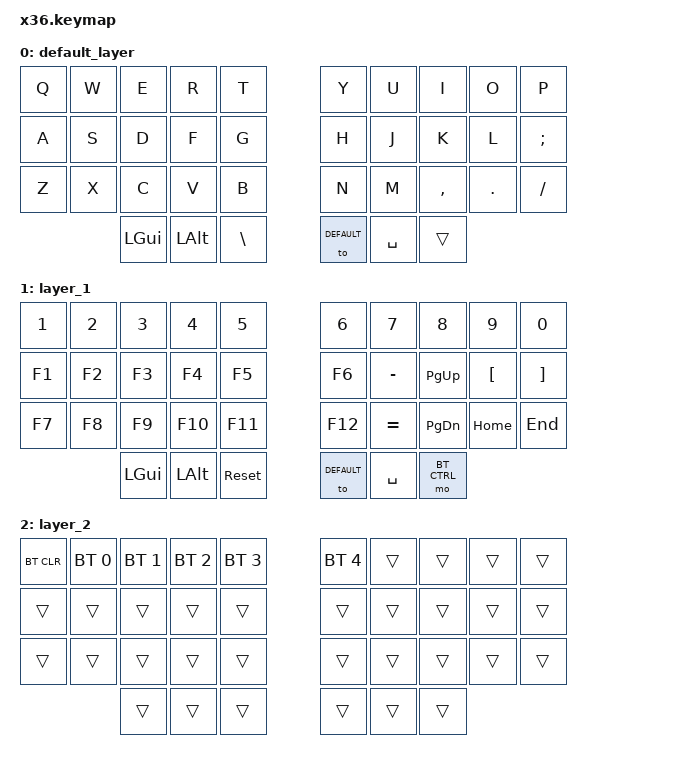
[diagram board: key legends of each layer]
/*
 * Copyright (c) 2021 The ZMK Contributors
 *
 * SPDX-License-Identifier: MIT
 */

#include <behaviors.dtsi>
#include <dt-bindings/zmk/bt.h>
#include <dt-bindings/zmk/keys.h>
#include <dt-bindings/zmk/outputs.h>

&lt {
    flavor = "tap-preferred";
    tapping-term-ms = <100>;
};

/ {
    keymap {
        compatible = "zmk,keymap";

        default_layer {
            bindings = <
&kp Q     &kp W    &kp E     &kp R       &kp T      &kp Y     &kp U        &kp I     &kp O     &kp P    
    &kp A     &kp S    &kp D     &kp F       &kp G      &kp H     &kp J        &kp K     &kp L     &kp SEMI 
    &kp Z     &kp X    &kp C     &kp V       &kp B      &kp N     &kp M        &kp COMMA &kp DOT   &kp FSLH 
    &kp LGUI  &kp LALT &kp BSLH              &to DEFAULT          &kp SPACE    &trans
            >;
        };

        layer_1 {
            bindings = <
&kp N1    &kp N2   &kp N3   &kp N4      &kp N5     &kp N6    &kp N7      &kp N8    &kp N9    &kp N0   
    &kp F1    &kp F2   &kp F3   &kp F4      &kp F5     &kp F6    &kp MINUS   &kp PG_UP &kp LBKT  &kp RBKT 
    &kp F7    &kp F8   &kp F9   &kp F10     &kp F11    &kp F12   &kp EQUAL   &kp PG_DN &kp HOME  &kp END  
    &kp LGUI  &kp LALT &sys_reset           &to DEFAULT          &kp SPACE   &mo BT_CTRL
            >;
        };

        layer_2 {
            bindings = <
&bt BT_CLR &bt BT_SEL 0 &bt BT_SEL 1 &bt BT_SEL 2 &bt BT_SEL 3 &bt BT_SEL 4 &trans    &trans    &trans     &trans     
    &trans     &trans       &trans       &trans       &trans       &trans       &trans    &trans    &trans     &trans     
    &trans     &trans       &trans       &trans       &trans       &trans       &trans    &trans    &trans     &trans     
    &trans     &trans       &trans                    &trans                    &trans    &trans
            >;
        };
    };
};
